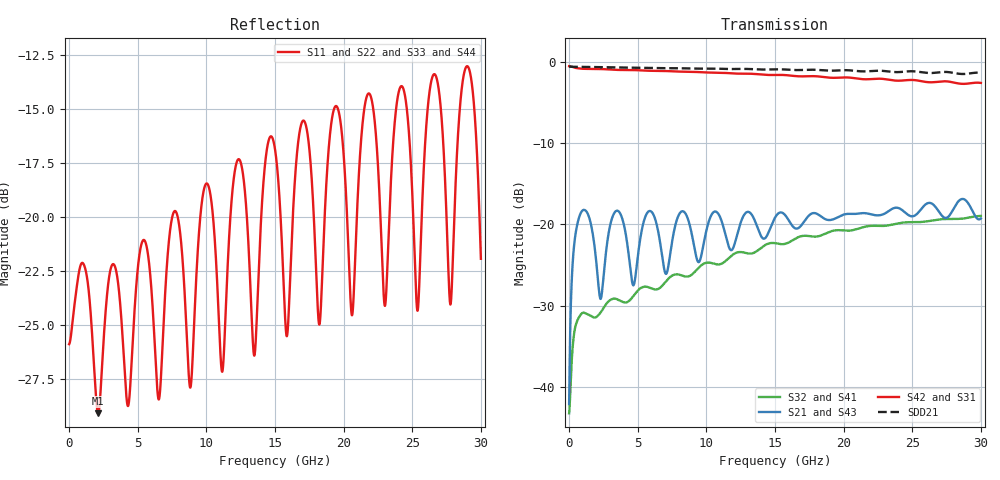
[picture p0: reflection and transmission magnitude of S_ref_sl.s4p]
!diffpair-meanders S_ref_sl (stripline: straight pair, serpentine reference), mesh medium
!ports 1 P_near 2 N_near 3 P_far 4 N_far; openEMS FDTD, lumped 50 ohm ports
# Hz S RI R 50.0
! Port[1] = P_near
! Port[2] = N_near
! Port[3] = P_far
! Port[4] = N_far
!freq ReS11 ImS11 ReS12 ImS12 ReS13 ImS13
! ReS14 ImS14
! ReS21 ImS21 ReS22 ImS22 ReS23 ImS23
! ReS24 ImS24
! ReS31 ImS31 ReS32 ImS32 ReS33 ImS33
! ReS34 ImS34
! ReS41 ImS41 ReS42 ImS42 ReS43 ImS43
! ReS44 ImS44
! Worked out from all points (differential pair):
!   3000 points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, 10 MHz to 30 GHz, reference 50 ohm
!   strongest paths, dB at 10 MHz, 7.51 GHz, 15.01 GHz, 22.51 GHz, 30 GHz:
!     S42: -0.6, -1.2, -1.6, -2.1, -2.6
!     S31: -0.6, -1.2, -1.7, -2.2, -2.6
!     S21: -42.1, -22.1, -19.2, -18.9, -19.3
!     S43: -42.1, -22.1, -19.2, -18.9, -19.3
!     S32: -43.2, -26.3, -22.3, -20.2, -19.0
!     S41: -43.2, -26.3, -22.3, -20.2, -19.0
!   taken as a pair (ports 2,1 in; 4,3 out), SDD21 dB: -0.6, -0.8, -1.0, -1.1, -1.4
!   lowest |S11| = -29.1 dB at 2.12 GHz (marker M1), VSWR 1.07, Z = 53.3 + j1.58 ohm
!   |S11| at or under -10 dB: start of sweep to end of sweep
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1e7  -0.0507 0.00242  0.00752 0.0022  0.9363 -0.0132  0.00682 -0.000927
     0.00752 0.0022  -0.0507 0.00243  0.00682 -0.000927  0.9363 -0.0132
     0.9363 -0.0132  0.00682 -0.000927  -0.0507 0.00242  0.00752 0.0022
     0.00682 -0.000927  0.9363 -0.0132  0.00752 0.0022  -0.0507 0.00243
2.12e9  0.0318 0.0148  0.0407 -0.0181  -0.8455 -0.3122  0.0173 0.0214
        0.0407 -0.0181  0.032 0.0154  0.0173 0.0214  -0.8452 -0.3117
        -0.8455 -0.3122  0.0173 0.0214  0.0318 0.0148  0.0407 -0.0181
        0.0173 0.0214  -0.8452 -0.3117  0.0407 -0.0181  0.032 0.0154
4.76e9  0.0358 0.0478  0.0422 0.0105  0.8862 0.0376  -0.0288 -0.0229
        0.0422 0.0105  0.0369 0.0481  -0.0288 -0.0229  0.8852 0.0372
        0.8862 0.0376  -0.0288 -0.0229  0.0358 0.0478  0.0422 0.0105
        -0.0288 -0.0229  0.8852 0.0372  0.0422 0.0105  0.0369 0.0481
7.17e9  0.0422 0.0683  0.0499 0.0136  -0.8743 -0.0302  0.0349 0.0294
        0.0499 0.0136  0.0437 0.068  0.0349 0.0294  -0.8728 -0.0305
        -0.8743 -0.0302  0.0349 0.0294  0.0422 0.0683  0.0499 0.0136
        0.0349 0.0294  -0.8728 -0.0305  0.0499 0.0136  0.0437 0.068
9.57e9  0.0499 0.0874  0.0592 0.015  0.8605 0.0347  -0.0424 -0.0355
        0.0592 0.015  0.0513 0.0862  -0.0424 -0.0355  0.859 0.0358
        0.8605 0.0347  -0.0424 -0.0355  0.0499 0.0874  0.0592 0.015
        -0.0424 -0.0355  0.859 0.0358  0.0592 0.015  0.0513 0.0862
1.197e10  0.0596 0.1048  0.0703 0.0148  -0.8444 -0.0399  0.0517 0.04
          0.0703 0.0148  0.0604 0.1027  0.0517 0.04  -0.8435 -0.042
          -0.8444 -0.0399  0.0517 0.04  0.0596 0.1048  0.0703 0.0148
          0.0517 0.04  -0.8435 -0.042  0.0703 0.0148  0.0604 0.1027
3e10  0.0765 0.0237  0.1064 -0.0206  0.0728 -0.7379  -0.00683 0.1122
      0.1064 -0.0206  0.0783 0.0261  -0.0068 0.1122  0.0684 -0.7356
      0.0728 -0.7379  -0.00683 0.1122  0.0765 0.0237  0.1064 -0.0206
      -0.0068 0.1122  0.0684 -0.7356  0.1064 -0.0206  0.0783 0.0261
